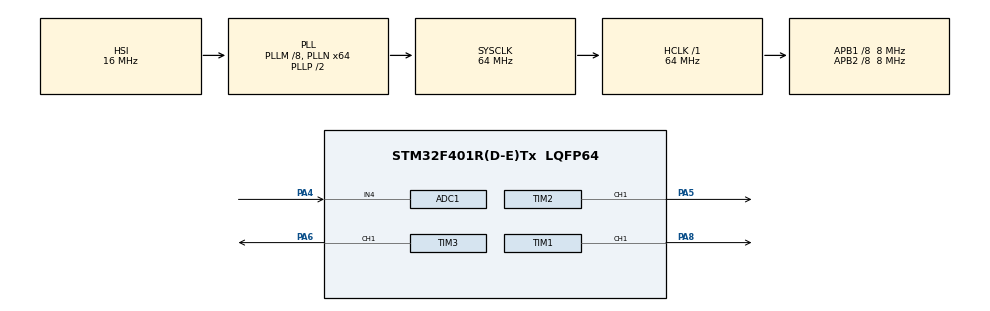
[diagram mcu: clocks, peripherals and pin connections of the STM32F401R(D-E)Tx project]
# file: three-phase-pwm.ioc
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ADC1.Channel-0\#ChannelRegularConversion=ADC_CHANNEL_4
ADC1.ContinuousConvMode=ENABLE
ADC1.NbrOfConversion=1
ADC1.NbrOfConversionFlag=1
ADC1.Rank-0\#ChannelRegularConversion=1
ADC1.SamplingTime-0\#ChannelRegularConversion=ADC_SAMPLETIME_15CYCLES
ADC1.master=1
Mcu.Family=STM32F4
Mcu.Name=STM32F401R(D-E)Tx
Mcu.Package=LQFP64
NVIC.ADC_IRQn=true\:0\:0\:false\:false\:true\:true\:true\:true
NVIC.PriorityGroup=NVIC_PRIORITYGROUP_4
NVIC.TIM4_IRQn=true\:0\:0\:false\:false\:true\:true\:true\:true
PA4.Signal=ADCx_IN4
PA5.Signal=S_TIM2_CH1_ETR
PA6.Signal=S_TIM3_CH1
PA8.Signal=S_TIM1_CH1
ProjectManager.HeapSize=0x200
ProjectManager.StackSize=0x400
ProjectManager.TargetToolchain=STM32CubeIDE
RCC.48MHZClocksFreq_Value=32000000
RCC.AHBFreq_Value=64000000
RCC.APB1CLKDivider=RCC_HCLK_DIV8
RCC.APB1Freq_Value=8000000
RCC.APB1TimFreq_Value=16000000
RCC.APB2CLKDivider=RCC_HCLK_DIV8
RCC.APB2Freq_Value=8000000
RCC.APB2TimFreq_Value=16000000
RCC.CortexFreq_Value=64000000
RCC.HCLKFreq_Value=64000000
RCC.HSE_VALUE=25000000
RCC.HSI_VALUE=16000000
RCC.LSE_VALUE=32768
RCC.PLLM=8
RCC.PLLN=64
RCC.SYSCLKFreq_VALUE=64000000
RCC.SYSCLKSource=RCC_SYSCLKSOURCE_PLLCLK
RCC.VCOOutputFreq_Value=128000000
SH.ADCx_IN4.0=ADC1_IN4,IN4
SH.S_TIM1_CH1.0=TIM1_CH1,PWM Generation1 CH1
SH.S_TIM2_CH1_ETR.0=TIM2_CH1,PWM Generation1 CH1
SH.S_TIM3_CH1.0=TIM3_CH1,PWM Generation1 CH1
TIM1.AutoReloadPreload=TIM_AUTORELOAD_PRELOAD_ENABLE
TIM1.Channel-PWM\ Generation1\ CH1=TIM_CHANNEL_1
TIM1.Period=1599
TIM2.AutoReloadPreload=TIM_AUTORELOAD_PRELOAD_ENABLE
TIM2.Channel-PWM\ Generation1\ CH1=TIM_CHANNEL_1
TIM2.Period=1599
TIM3.AutoReloadPreload=TIM_AUTORELOAD_PRELOAD_ENABLE
TIM3.Channel-PWM\ Generation1\ CH1=TIM_CHANNEL_1
TIM3.OCPolarity_1=TIM_OCPOLARITY_LOW
TIM3.Period=1599
VP_TIM1_VS_ClockSourceINT.Mode=Internal
VP_TIM3_VS_ClockSourceINT.Mode=Internal
VP_TIM4_VS_ClockSourceINT.Mode=Internal
board=custom

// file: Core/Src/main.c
/* USER CODE BEGIN Header */
/**
  ******************************************************************************
  * @file           : main.c
  * @brief          : Main program body
  ******************************************************************************
  * @attention
  *
  * Copyright (c) 2024 STMicroelectronics.
  * All rights reserved.
  *
  * This software is licensed under terms that can be found in the LICENSE file
  * in the root directory of this software component.
  * If no LICENSE file comes with this software, it is provided AS-IS.
  *
  ******************************************************************************
  */
/* USER CODE END Header */
#include "main.h"

/* USER CODE BEGIN Includes */

#include <stdio.h>
#include <math.h>
/* USER CODE END Includes */

/* USER CODE BEGIN PTD */
#define POT_MIN 2630
#define POT_MAX 4095
#define FREQ_MIN 1
#define FREQ_MAX 50
/* USER CODE END PTD */

/* USER CODE BEGIN PM */
#define LUT_SIZE 128
/* USER CODE END PM */

ADC_HandleTypeDef hadc1;

TIM_HandleTypeDef htim1;
TIM_HandleTypeDef htim2;
TIM_HandleTypeDef htim3;
TIM_HandleTypeDef htim4;

/* USER CODE BEGIN PV */

uint16_t sine_LUT[128] = {799.000000 ,838.000000 ,877.000000 ,916.000000 ,955.000000 ,993.000000 ,1031.000000 ,1068.000000 ,1105.000000 ,
		1141.000000 ,1176.000000 ,1210.000000 ,1243.000000 ,1275.000000 ,1306.000000 ,1336.000000 ,1364.000000 ,1391.000000 ,1417.000000 ,
		1441.000000 ,1464.000000 ,1485.000000 ,1504.000000 ,1522.000000 ,1537.000000 ,1552.000000 ,1564.000000 ,1574.000000 ,1583.000000 ,
		1590.000000 ,1595.000000 ,1598.000000 ,1598.000000 ,1598.000000 ,1595.000000 ,1590.000000 ,1583.000000 ,1575.000000 ,1564.000000 ,
		1552.000000 ,1538.000000 ,1522.000000 ,1504.000000 ,1485.000000 ,1464.000000 ,1442.000000 ,1418.000000 ,1392.000000 ,1365.000000 ,
		1337.000000 ,1307.000000 ,1276.000000 ,1244.000000 ,1211.000000 ,1177.000000 ,1142.000000 ,1106.000000 ,1069.000000 ,1032.000000 ,
		994.000000 ,956.000000 ,918.000000 ,879.000000 ,839.000000 ,800.000000 ,761.000000 ,722.000000 ,683.000000 ,644.000000 ,606.000000 ,
		568.000000 ,531.000000 ,494.000000 ,458.000000 ,423.000000 ,389.000000 ,356.000000 ,324.000000 ,293.000000 ,263.000000 ,235.000000 ,
		208.000000 ,182.000000 ,158.000000 ,135.000000 ,114.000000 ,95.000000 ,77.000000 ,61.000000 ,47.000000 ,34.000000 ,24.000000 ,15.000000 ,
		8.000000 ,4.000000 ,1.000000 ,0.000000 ,0.000000 ,3.000000 ,8.000000 ,14.000000 ,23.000000 ,33.000000 ,46.000000 ,60.000000 ,75.000000 ,
		93.000000 ,112.000000 ,133.000000 ,156.000000 ,180.000000 ,205.000000 ,232.000000 ,260.000000 ,290.000000 ,321.000000 ,353.000000 ,
		386.000000 ,420.000000 ,455.000000 ,491.000000 ,527.000000 ,565.000000 ,602.000000 ,641.000000 ,679.000000 ,718.000000 ,757.000000}; // Sine wave LUT
static uint16_t lut_index = 0;
/* USER CODE END PV */

void SystemClock_Config(void);
static void MX_GPIO_Init(void);
static void MX_TIM1_Init(void);
static void MX_TIM2_Init(void);
static void MX_TIM3_Init(void);
static void MX_TIM4_Init(void);
static void MX_ADC1_Init(void);

int main(void)
{

  /* MCU Configuration--------------------------------------------------------*/

  /* Reset of all peripherals, Initializes the Flash interface and the Systick. */
  HAL_Init();

  /* Configure the system clock */
  SystemClock_Config();

  /* Initialize all configured peripherals */
  MX_GPIO_Init();
  MX_TIM1_Init();
  MX_TIM2_Init();
  MX_TIM3_Init();
  MX_TIM4_Init();
  MX_ADC1_Init();
  /* USER CODE BEGIN 2 */

  HAL_TIM_PWM_Start(&htim1, TIM_CHANNEL_1);
  HAL_TIM_PWM_Start(&htim2, TIM_CHANNEL_1);
  HAL_TIM_PWM_Start(&htim3, TIM_CHANNEL_1);

  HAL_TIM_Base_Start_IT(&htim4);
  HAL_ADC_Start_IT(&hadc1);
  /* USER CODE END 2 */

  /* Infinite loop */
  while (1)
  {

    /* USER CODE BEGIN 3 */
  HAL_ADC_Start(&hadc1);
  HAL_ADC_PollForConversion(&hadc1, 20);
  int val = HAL_ADC_GetValue(&hadc1); // read the ADC value
  __HAL_TIM_SET_AUTORELOAD(&htim4, (16000000/(scalePotentiometer(val)*128))-1); // scale the value of the ADC and change the TIM4 ARR with the corresponding value with a timer clock frequency set to 16MHZ
  }
  /* USER CODE END 3 */
}

void SystemClock_Config(void)
{
  RCC_OscInitTypeDef RCC_OscInitStruct = {0};
  RCC_ClkInitTypeDef RCC_ClkInitStruct = {0};

  /** Configure the main internal regulator output voltage
  */
  __HAL_RCC_PWR_CLK_ENABLE();
  __HAL_PWR_VOLTAGESCALING_CONFIG(PWR_REGULATOR_VOLTAGE_SCALE2);

  /** Initializes the RCC Oscillators according to the specified parameters
  * in the RCC_OscInitTypeDef structure.
  */
  RCC_OscInitStruct.OscillatorType = RCC_OSCILLATORTYPE_HSI;
  RCC_OscInitStruct.HSIState = RCC_HSI_ON;
  RCC_OscInitStruct.HSICalibrationValue = RCC_HSICALIBRATION_DEFAULT;
  RCC_OscInitStruct.PLL.PLLState = RCC_PLL_ON;
  RCC_OscInitStruct.PLL.PLLSource = RCC_PLLSOURCE_HSI;
  RCC_OscInitStruct.PLL.PLLM = 8;
  RCC_OscInitStruct.PLL.PLLN = 64;
  RCC_OscInitStruct.PLL.PLLP = RCC_PLLP_DIV2;
  RCC_OscInitStruct.PLL.PLLQ = 4;
  if (HAL_RCC_OscConfig(&RCC_OscInitStruct) != HAL_OK)
  {
    Error_Handler();
  }

  /** Initializes the CPU, AHB and APB buses clocks
  */
  RCC_ClkInitStruct.ClockType = RCC_CLOCKTYPE_HCLK|RCC_CLOCKTYPE_SYSCLK
                              |RCC_CLOCKTYPE_PCLK1|RCC_CLOCKTYPE_PCLK2;
  RCC_ClkInitStruct.SYSCLKSource = RCC_SYSCLKSOURCE_PLLCLK;
  RCC_ClkInitStruct.AHBCLKDivider = RCC_SYSCLK_DIV1;
  RCC_ClkInitStruct.APB1CLKDivider = RCC_HCLK_DIV8;
  RCC_ClkInitStruct.APB2CLKDivider = RCC_HCLK_DIV8;

  if (HAL_RCC_ClockConfig(&RCC_ClkInitStruct, FLASH_LATENCY_2) != HAL_OK)
  {
    Error_Handler();
  }
}

static void MX_ADC1_Init(void)
{

  ADC_ChannelConfTypeDef sConfig = {0};

  /** Configure the global features of the ADC (Clock, Resolution, Data Alignment and number of conversion)
  */
  hadc1.Instance = ADC1;
  hadc1.Init.ClockPrescaler = ADC_CLOCK_SYNC_PCLK_DIV2;
  hadc1.Init.Resolution = ADC_RESOLUTION_12B;
  hadc1.Init.ScanConvMode = DISABLE;
  hadc1.Init.ContinuousConvMode = ENABLE;
  hadc1.Init.DiscontinuousConvMode = DISABLE;
  hadc1.Init.ExternalTrigConvEdge = ADC_EXTERNALTRIGCONVEDGE_NONE;
  hadc1.Init.ExternalTrigConv = ADC_SOFTWARE_START;
  hadc1.Init.DataAlign = ADC_DATAALIGN_RIGHT;
  hadc1.Init.NbrOfConversion = 1;
  hadc1.Init.DMAContinuousRequests = DISABLE;
  hadc1.Init.EOCSelection = ADC_EOC_SINGLE_CONV;
  if (HAL_ADC_Init(&hadc1) != HAL_OK)
  {
    Error_Handler();
  }

  /** Configure for the selected ADC regular channel its corresponding rank in the sequencer and its sample time.
  */
  sConfig.Channel = ADC_CHANNEL_4;
  sConfig.Rank = 1;
  sConfig.SamplingTime = ADC_SAMPLETIME_15CYCLES;
  if (HAL_ADC_ConfigChannel(&hadc1, &sConfig) != HAL_OK)
  {
    Error_Handler();
  }

}

static void MX_TIM1_Init(void)
{

  TIM_ClockConfigTypeDef sClockSourceConfig = {0};
  TIM_MasterConfigTypeDef sMasterConfig = {0};
  TIM_OC_InitTypeDef sConfigOC = {0};
  TIM_BreakDeadTimeConfigTypeDef sBreakDeadTimeConfig = {0};

  htim1.Instance = TIM1;
  htim1.Init.Prescaler = 0;
  htim1.Init.CounterMode = TIM_COUNTERMODE_UP;
  htim1.Init.Period = 1599;
  htim1.Init.ClockDivision = TIM_CLOCKDIVISION_DIV1;
  htim1.Init.RepetitionCounter = 0;
  htim1.Init.AutoReloadPreload = TIM_AUTORELOAD_PRELOAD_ENABLE;
  if (HAL_TIM_Base_Init(&htim1) != HAL_OK)
  {
    Error_Handler();
  }
  sClockSourceConfig.ClockSource = TIM_CLOCKSOURCE_INTERNAL;
  if (HAL_TIM_ConfigClockSource(&htim1, &sClockSourceConfig) != HAL_OK)
  {
    Error_Handler();
  }
  if (HAL_TIM_PWM_Init(&htim1) != HAL_OK)
  {
    Error_Handler();
  }
  sMasterConfig.MasterOutputTrigger = TIM_TRGO_RESET;
  sMasterConfig.MasterSlaveMode = TIM_MASTERSLAVEMODE_DISABLE;
  if (HAL_TIMEx_MasterConfigSynchronization(&htim1, &sMasterConfig) != HAL_OK)
  {
    Error_Handler();
  }
  sConfigOC.OCMode = TIM_OCMODE_PWM1;
  sConfigOC.Pulse = 0;
  sConfigOC.OCPolarity = TIM_OCPOLARITY_HIGH;
  sConfigOC.OCNPolarity = TIM_OCNPOLARITY_HIGH;
  sConfigOC.OCFastMode = TIM_OCFAST_DISABLE;
  sConfigOC.OCIdleState = TIM_OCIDLESTATE_RESET;
  sConfigOC.OCNIdleState = TIM_OCNIDLESTATE_RESET;
  if (HAL_TIM_PWM_ConfigChannel(&htim1, &sConfigOC, TIM_CHANNEL_1) != HAL_OK)
  {
    Error_Handler();
  }
  sBreakDeadTimeConfig.OffStateRunMode = TIM_OSSR_DISABLE;
  sBreakDeadTimeConfig.OffStateIDLEMode = TIM_OSSI_DISABLE;
  sBreakDeadTimeConfig.LockLevel = TIM_LOCKLEVEL_OFF;
  sBreakDeadTimeConfig.DeadTime = 0;
  sBreakDeadTimeConfig.BreakState = TIM_BREAK_DISABLE;
  sBreakDeadTimeConfig.BreakPolarity = TIM_BREAKPOLARITY_HIGH;
  sBreakDeadTimeConfig.AutomaticOutput = TIM_AUTOMATICOUTPUT_DISABLE;
  if (HAL_TIMEx_ConfigBreakDeadTime(&htim1, &sBreakDeadTimeConfig) != HAL_OK)
  {
    Error_Handler();
  }
  HAL_TIM_MspPostInit(&htim1);

}

static void MX_TIM2_Init(void)
{

  TIM_MasterConfigTypeDef sMasterConfig = {0};
  TIM_OC_InitTypeDef sConfigOC = {0};

  htim2.Instance = TIM2;
  htim2.Init.Prescaler = 0;
  htim2.Init.CounterMode = TIM_COUNTERMODE_UP;
  htim2.Init.Period = 1599;
  htim2.Init.ClockDivision = TIM_CLOCKDIVISION_DIV1;
  htim2.Init.AutoReloadPreload = TIM_AUTORELOAD_PRELOAD_ENABLE;
  if (HAL_TIM_PWM_Init(&htim2) != HAL_OK)
  {
    Error_Handler();
  }
  sMasterConfig.MasterOutputTrigger = TIM_TRGO_RESET;
  sMasterConfig.MasterSlaveMode = TIM_MASTERSLAVEMODE_DISABLE;
  if (HAL_TIMEx_MasterConfigSynchronization(&htim2, &sMasterConfig) != HAL_OK)
  {
    Error_Handler();
  }
  sConfigOC.OCMode = TIM_OCMODE_PWM1;
  sConfigOC.Pulse = 0;
  sConfigOC.OCPolarity = TIM_OCPOLARITY_HIGH;
  sConfigOC.OCFastMode = TIM_OCFAST_DISABLE;
  if (HAL_TIM_PWM_ConfigChannel(&htim2, &sConfigOC, TIM_CHANNEL_1) != HAL_OK)
  {
    Error_Handler();
  }
  HAL_TIM_MspPostInit(&htim2);

}

static void MX_TIM3_Init(void)
{

  TIM_ClockConfigTypeDef sClockSourceConfig = {0};
  TIM_MasterConfigTypeDef sMasterConfig = {0};
  TIM_OC_InitTypeDef sConfigOC = {0};

  htim3.Instance = TIM3;
  htim3.Init.Prescaler = 0;
  htim3.Init.CounterMode = TIM_COUNTERMODE_UP;
  htim3.Init.Period = 1599;
  htim3.Init.ClockDivision = TIM_CLOCKDIVISION_DIV1;
  htim3.Init.AutoReloadPreload = TIM_AUTORELOAD_PRELOAD_ENABLE;
  if (HAL_TIM_Base_Init(&htim3) != HAL_OK)
  {
    Error_Handler();
  }
  sClockSourceConfig.ClockSource = TIM_CLOCKSOURCE_INTERNAL;
  if (HAL_TIM_ConfigClockSource(&htim3, &sClockSourceConfig) != HAL_OK)
  {
    Error_Handler();
  }
  if (HAL_TIM_PWM_Init(&htim3) != HAL_OK)
  {
    Error_Handler();
  }
  sMasterConfig.MasterOutputTrigger = TIM_TRGO_RESET;
  sMasterConfig.MasterSlaveMode = TIM_MASTERSLAVEMODE_DISABLE;
  if (HAL_TIMEx_MasterConfigSynchronization(&htim3, &sMasterConfig) != HAL_OK)
  {
    Error_Handler();
  }
  sConfigOC.OCMode = TIM_OCMODE_PWM1;
  sConfigOC.Pulse = 0;
  sConfigOC.OCPolarity = TIM_OCPOLARITY_LOW;
  sConfigOC.OCFastMode = TIM_OCFAST_DISABLE;
  if (HAL_TIM_PWM_ConfigChannel(&htim3, &sConfigOC, TIM_CHANNEL_1) != HAL_OK)
  {
    Error_Handler();
  }
  HAL_TIM_MspPostInit(&htim3);

}

static void MX_TIM4_Init(void)
{

  TIM_ClockConfigTypeDef sClockSourceConfig = {0};
  TIM_MasterConfigTypeDef sMasterConfig = {0};

  htim4.Instance = TIM4;
  htim4.Init.Prescaler = 0;
  htim4.Init.CounterMode = TIM_COUNTERMODE_UP;
  htim4.Init.Period = 65535;
  htim4.Init.ClockDivision = TIM_CLOCKDIVISION_DIV1;
  htim4.Init.AutoReloadPreload = TIM_AUTORELOAD_PRELOAD_DISABLE;
  if (HAL_TIM_Base_Init(&htim4) != HAL_OK)
  {
    Error_Handler();
  }
  sClockSourceConfig.ClockSource = TIM_CLOCKSOURCE_INTERNAL;
  if (HAL_TIM_ConfigClockSource(&htim4, &sClockSourceConfig) != HAL_OK)
  {
    Error_Handler();
  }
  sMasterConfig.MasterOutputTrigger = TIM_TRGO_RESET;
  sMasterConfig.MasterSlaveMode = TIM_MASTERSLAVEMODE_DISABLE;
  if (HAL_TIMEx_MasterConfigSynchronization(&htim4, &sMasterConfig) != HAL_OK)
  {
    Error_Handler();
  }

}

static void MX_GPIO_Init(void)
{

  /* GPIO Ports Clock Enable */
  __HAL_RCC_GPIOA_CLK_ENABLE();

}

/* USER CODE BEGIN 4 */
// interrupt handler
// updtaing the PWMs duty cycles
void HAL_TIM_PeriodElapsedCallback(TIM_HandleTypeDef *htim) {

    if (htim->Instance == TIM4) { // Check if Timer 4 caused the interrupt
        uint16_t phase_A = sine_LUT[lut_index];
        uint16_t phase_B = sine_LUT[(lut_index + LUT_SIZE / 3) % LUT_SIZE];
        uint16_t phase_C = sine_LUT[(lut_index + 2 * LUT_SIZE / 3) % LUT_SIZE];
        // Set PWM duty cycles for each phase
        __HAL_TIM_SET_COMPARE(&htim1, TIM_CHANNEL_1, phase_A);
        __HAL_TIM_SET_COMPARE(&htim2, TIM_CHANNEL_1, phase_B);
        __HAL_TIM_SET_COMPARE(&htim3, TIM_CHANNEL_1, phase_C);

        // Increment the LUT index
        lut_index = (lut_index + 1) % LUT_SIZE;

    }
}

int scalePotentiometer(int potValue) {
    // the value is within bounds
    if (potValue < POT_MIN) potValue = POT_MIN;
    if (potValue > POT_MAX) potValue = POT_MAX;

    // scaling from [2630, 4095] -> [1, 50hz]
    return (int)(FREQ_MIN + ((float)(potValue - POT_MIN) * (FREQ_MAX - FREQ_MIN) / (POT_MAX - POT_MIN)));
}

/* USER CODE END 4 */

void Error_Handler(void)
{
  __disable_irq();
  while (1)
  {
  }
}
